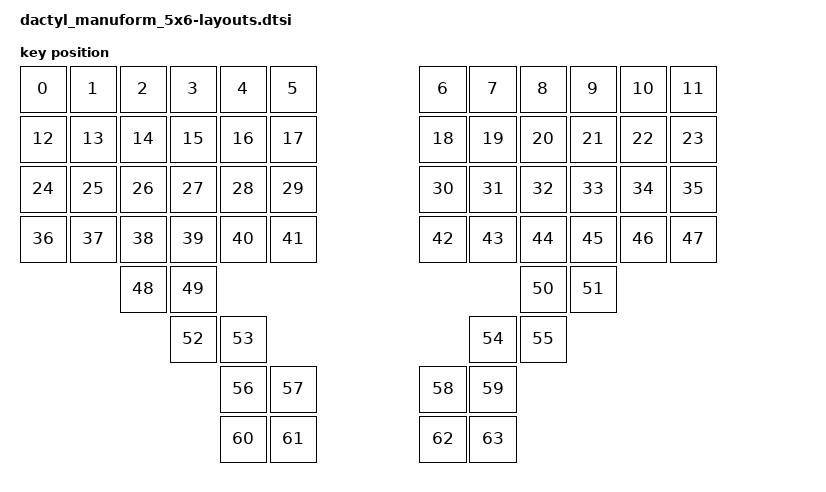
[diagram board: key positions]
/*
 * Copyright (c) 2025 The ZMK Contributors
 * SPDX-License-Identifier: MIT
 */

#include <physical_layouts.dtsi>

/ {
    dactyl_5x6_layout: dactyl_5x6_layout {
        compatible = "zmk,physical-layout";
        display-name = "Dactyl Manuform 5x6";

        keys  //                     w    h     x     y     r    rx    ry
            // Row 0: ESC, 1, 2, 3, 4, 5 | 6, 7, 8, 9, 0, BSPC (indices 0-11)
            = <&key_physical_attrs 100  100     0     0     0     0     0>  // 0: ESC
            , <&key_physical_attrs 100  100   100     0     0     0     0>  // 1: 1
            , <&key_physical_attrs 100  100   200     0     0     0     0>  // 2: 2
            , <&key_physical_attrs 100  100   300     0     0     0     0>  // 3: 3
            , <&key_physical_attrs 100  100   400     0     0     0     0>  // 4: 4
            , <&key_physical_attrs 100  100   500     0     0     0     0>  // 5: 5
            , <&key_physical_attrs 100  100   800     0     0     0     0>  // 6: 6
            , <&key_physical_attrs 100  100   900     0     0     0     0>  // 7: 7
            , <&key_physical_attrs 100  100  1000     0     0     0     0>  // 8: 8
            , <&key_physical_attrs 100  100  1100     0     0     0     0>  // 9: 9
            , <&key_physical_attrs 100  100  1200     0     0     0     0>  // 10: 0
            , <&key_physical_attrs 100  100  1300     0     0     0     0>  // 11: BSPC
            // Row 1: TAB, Q, W, E, R, T | Y, U, I, O, P, - (indices 12-23)
            , <&key_physical_attrs 100  100     0   100     0     0     0>  // 12: TAB
            , <&key_physical_attrs 100  100   100   100     0     0     0>  // 13: Q
            , <&key_physical_attrs 100  100   200   100     0     0     0>  // 14: W
            , <&key_physical_attrs 100  100   300   100     0     0     0>  // 15: E
            , <&key_physical_attrs 100  100   400   100     0     0     0>  // 16: R
            , <&key_physical_attrs 100  100   500   100     0     0     0>  // 17: T
            , <&key_physical_attrs 100  100   800   100     0     0     0>  // 18: Y
            , <&key_physical_attrs 100  100   900   100     0     0     0>  // 19: U
            , <&key_physical_attrs 100  100  1000   100     0     0     0>  // 20: I
            , <&key_physical_attrs 100  100  1100   100     0     0     0>  // 21: O
            , <&key_physical_attrs 100  100  1200   100     0     0     0>  // 22: P
            , <&key_physical_attrs 100  100  1300   100     0     0     0>  // 23: -
            // Row 2: SHFT, A, S, D, F, G | H, J, K, L, ;, á (indices 24-35)
            , <&key_physical_attrs 100  100     0   200     0     0     0>  // 24: SHFT
            , <&key_physical_attrs 100  100   100   200     0     0     0>  // 25: A
            , <&key_physical_attrs 100  100   200   200     0     0     0>  // 26: S
            , <&key_physical_attrs 100  100   300   200     0     0     0>  // 27: D
            , <&key_physical_attrs 100  100   400   200     0     0     0>  // 28: F
            , <&key_physical_attrs 100  100   500   200     0     0     0>  // 29: G
            , <&key_physical_attrs 100  100   800   200     0     0     0>  // 30: H
            , <&key_physical_attrs 100  100   900   200     0     0     0>  // 31: J
            , <&key_physical_attrs 100  100  1000   200     0     0     0>  // 32: K
            , <&key_physical_attrs 100  100  1100   200     0     0     0>  // 33: L
            , <&key_physical_attrs 100  100  1200   200     0     0     0>  // 34: ;
            , <&key_physical_attrs 100  100  1300   200     0     0     0>  // 35: á
            // Row 3: CTRL, Z, X, C, V, B | N, M, ,, ., /, \ (indices 36-47)
            , <&key_physical_attrs 100  100     0   300     0     0     0>  // 36: CTRL
            , <&key_physical_attrs 100  100   100   300     0     0     0>  // 37: Z
            , <&key_physical_attrs 100  100   200   300     0     0     0>  // 38: X
            , <&key_physical_attrs 100  100   300   300     0     0     0>  // 39: C
            , <&key_physical_attrs 100  100   400   300     0     0     0>  // 40: V
            , <&key_physical_attrs 100  100   500   300     0     0     0>  // 41: B
            , <&key_physical_attrs 100  100   800   300     0     0     0>  // 42: N
            , <&key_physical_attrs 100  100   900   300     0     0     0>  // 43: M
            , <&key_physical_attrs 100  100  1000   300     0     0     0>  // 44: ,
            , <&key_physical_attrs 100  100  1100   300     0     0     0>  // 45: .
            , <&key_physical_attrs 100  100  1200   300     0     0     0>  // 46: /
            , <&key_physical_attrs 100  100  1300   300     0     0     0>  // 47: \
            // Thumb cluster (indices 48-63) - MUST match matrix transform order!
            // Matrix order: RC(4,2) RC(4,3) RC(4,8) RC(4,9) RC(4,4) RC(4,5) RC(4,6) RC(4,7) RC(5,4) RC(5,5) RC(5,6) RC(5,7) RC(5,2) RC(5,3) RC(5,8) RC(5,9)
            // LEFT: [] under X,C | RAISE,SPACE under C,V | bottom 4 under V,B
            // RIGHT: mirrored - under M,, | under ,,. | under .,/

            // Top row: [] under X,C (x=200,300, y=400)
            , <&key_physical_attrs 100  100   200   400     0     0     0>  // 48: [ - RC(4,2) - under X
            , <&key_physical_attrs 100  100   300   400     0     0     0>  // 49: ] - RC(4,3) - under C
            , <&key_physical_attrs 100  100  1000   400     0     0     0>  // 50: + - RC(4,8) - under , (mirrored)
            , <&key_physical_attrs 100  100  1100   400     0     0     0>  // 51: = - RC(4,9) - under . (mirrored)

            // Second row: RAISE,SPACE under C,V (x=300,400, y=500)
            , <&key_physical_attrs 100  100   300   500     0     0     0>  // 52: RAISE (mo 2) - RC(4,4) - under C
            , <&key_physical_attrs 100  100   400   500     0     0     0>  // 53: SPACE - RC(4,5) - under V
            , <&key_physical_attrs 100  100   900   500     0     0     0>  // 54: ENTER - RC(4,6) - under M (mirrored)
            , <&key_physical_attrs 100  100  1000   500     0     0     0>  // 55: LOWER (mo 1) - RC(4,7) - under , (mirrored)

            // Third row: LGUI,DEL under V,B (x=400,500, y=600)
            , <&key_physical_attrs 100  100   400   600     0     0     0>  // 56: LGUI - RC(5,4) - under V
            , <&key_physical_attrs 100  100   500   600     0     0     0>  // 57: DEL - RC(5,5) - under B
            , <&key_physical_attrs 100  100   800   600     0     0     0>  // 58: PG_UP - RC(5,6) - under N (mirrored)
            , <&key_physical_attrs 100  100   900   600     0     0     0>  // 59: PG_DN - RC(5,7) - under M (mirrored)

            // Bottom row: BSPC,` under V,B (x=400,500, y=700)
            , <&key_physical_attrs 100  100   400   700     0     0     0>  // 60: BSPC - RC(5,2) - under V
            , <&key_physical_attrs 100  100   500   700     0     0     0>  // 61: ` - RC(5,3) - under B
            , <&key_physical_attrs 100  100   800   700     0     0     0>  // 62: HOME - RC(5,8) - under N (mirrored)
            , <&key_physical_attrs 100  100   900   700     0     0     0>  // 63: END - RC(5,9) - under M (mirrored)
            ;
    };
};
